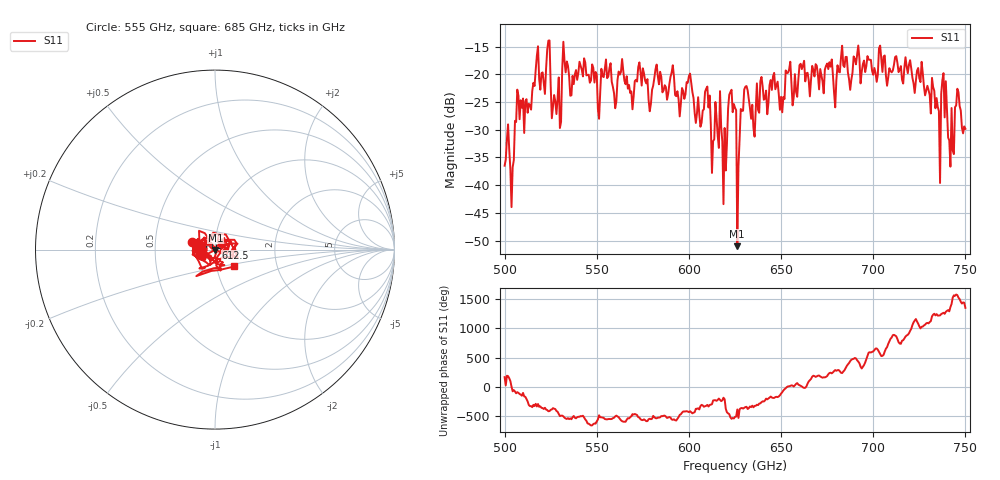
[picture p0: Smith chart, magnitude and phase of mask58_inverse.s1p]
!Created with skrf (http://scikit-rf.org).
# GHz S MA R 50.0
!freq magS11 angS11
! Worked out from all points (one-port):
!   401 points, 500 GHz to 750 GHz, reference 50 ohm
!   lowest |S11| = -51.0 dB at 626.2 GHz (marker M1), VSWR 1.01, Z = 50.2 - j0.136 ohm
!   |S11| at or under -10 dB: start of sweep to end of sweep
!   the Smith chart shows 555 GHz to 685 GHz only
!   S11 on the Smith chart (normalised r, x): 555 GHz: 0.77, +0.06; 612.5 GHz: 1.01, +0.02; 685 GHz: 1.22, -0.23
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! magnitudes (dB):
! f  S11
! 500 GHz  -36.5
! 503.8 GHz  -44.0
! 506.9 GHz  -22.8
! 516.9 GHz  -19.2
! 523.8 GHz  -13.9
! 526.9 GHz  -23.7
! 531.2 GHz  -19.1
! 555 GHz  -17.3
! 562.5 GHz  -20.1
! 593.8 GHz  -23.1
! 610 GHz  -22.2
! 612.5 GHz  -37.8
! 615.6 GHz  -31.1
! 619.4 GHz  -29.7
! 623.1 GHz  -22.8
! 625 GHz  -26.0
! 626.2 GHz  -51.0
! 631.2 GHz  -22.1
! 635 GHz  -29.7
! 656.2 GHz  -25.6
! 685 GHz  -16.9
! 687.5 GHz  -22.8
! 718.8 GHz  -19.8
! 735 GHz  -25.9
! 738.1 GHz  -19.8
! 742.5 GHz  -26.1
! 745.6 GHz  -22.6
! 750 GHz  -29.8
